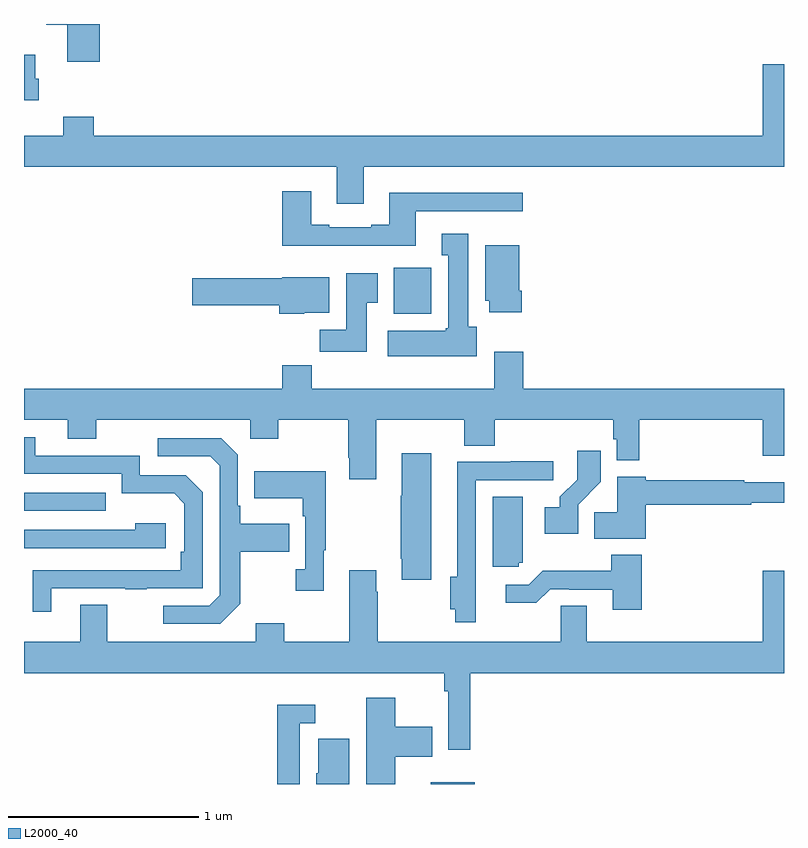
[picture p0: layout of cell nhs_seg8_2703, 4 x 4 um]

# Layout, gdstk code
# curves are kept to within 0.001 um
import gdstk
lib = gdstk.Library(unit=1e-6, precision=1e-09)
def R(c, l, rs):  # rectangles x0, y0, x1, y1
    for r in rs: c.add(gdstk.rectangle(r[:2], r[2:], *l))
def P(c, l, *ps):  # polygons
    for p in ps: c.add(gdstk.Polygon(p, *l))
L2000_40 = (2000, 40)

nhs_seg8_2703 = lib.new_cell('nhs_seg8_2703')
R(nhs_seg8_2703, L2000_40, [(283.142,1131.9,283.372,1131.91), (281,1133.337,281.429,1133.433), (282.947,1134.374,283.144,1134.616)])
P(nhs_seg8_2703, L2000_40, [(281.399,1135.9),(281.117,1135.9),(281.117,1135.895),(281.228,1135.895),(281.228,1135.701),(281.399,1135.701)],
  [(281.078,1135.613),(281.059,1135.613),(281.059,1135.738),(281,1135.738),(281,1135.5),(281.078,1135.5)],
  [(282.787,1135.148),(285,1135.148),(285,1135.687),(284.888,1135.687),(284.888,1135.312),(281.366,1135.312),(281.366,1135.411),(281.206,1135.411),(281.206,1135.312),(281,1135.312),(281,1135.148),(282.647,1135.148),(282.647,1134.954),(282.787,1134.954)],
  [(283.063,1134.915),(283.624,1134.915),(283.624,1135.012),(282.923,1135.012),(282.923,1134.844),(282.827,1134.844),(282.827,1134.831),(282.607,1134.831),(282.607,1134.844),(282.511,1134.844),(282.511,1135.021),(282.359,1135.021),(282.359,1134.734),(283.063,1134.734)],
  [(283.384,1134.306),(283.339,1134.306),(283.339,1134.796),(283.199,1134.796),(283.199,1134.683),(283.232,1134.683),(283.232,1134.3),(283.219,1134.3),(283.219,1134.286),(282.915,1134.286),(282.915,1134.152),(283.384,1134.152)],
  [(283.619,1134.496),(283.606,1134.496),(283.606,1134.736),(283.427,1134.736),(283.427,1134.444),(283.448,1134.444),(283.448,1134.384),(283.619,1134.384)],
  [(282.805,1134.433),(282.862,1134.433),(282.862,1134.589),(282.695,1134.589),(282.695,1134.292),(282.556,1134.292),(282.556,1134.174),(282.805,1134.174)],
  [(282.474,1134.38),(282.607,1134.38),(282.607,1134.568),(282.36,1134.568),(282.36,1134.563),(281.886,1134.563),(281.886,1134.421),(282.344,1134.421),(282.344,1134.374),(282.474,1134.374)],
  [(282.853,1133.816),(283.318,1133.816),(283.318,1133.68),(283.478,1133.68),(283.478,1133.816),(284.101,1133.816),(284.101,1133.715),(284.121,1133.715),(284.121,1133.603),(284.237,1133.603),(284.237,1133.816),(284.888,1133.816),(284.888,1133.628),(285,1133.628),(285,1133.98),(283.628,1133.98),(283.628,1134.175),(283.475,1134.175),(283.475,1133.98),(282.515,1133.98),(282.515,1134.104),(282.359,1134.104),(282.359,1133.98),(281,1133.98),(281,1133.816),(281.231,1133.816),(281.231,1133.717),(281.379,1133.717),(281.379,1133.816),(282.192,1133.816),(282.192,1133.717),(282.339,1133.717),(282.339,1133.816),(282.706,1133.816),(282.706,1133.617),(282.713,1133.617),(282.713,1133.505),(282.853,1133.505)],
  [(281.143,1132.929),(281.533,1132.929),(281.533,1132.924),(281.645,1132.924),(281.645,1132.929),(281.94,1132.929),(281.94,1133.436),(281.85,1133.526),(281.61,1133.526),(281.61,1133.628),(281.059,1133.628),(281.059,1133.724),(281,1133.724),(281,1133.532),(281.514,1133.532),(281.514,1133.429),(281.791,1133.429),(281.844,1133.376),(281.844,1133.122),(281.824,1133.122),(281.824,1133.025),(281.047,1133.024),(281.047,1132.806),(281.143,1132.806)],
  [(282.139,1132.849),(282.139,1133.122),(282.395,1133.122),(282.395,1133.269),(282.139,1133.269),(282.139,1133.365),(282.126,1133.365),(282.126,1133.634),(282.039,1133.721),(281.703,1133.721),(281.703,1133.625),(281.979,1133.625),(282.03,1133.574),(282.03,1132.893),(281.976,1132.839),(281.733,1132.839),(281.733,1132.743),(282.033,1132.743)],
  [(283.917,1133.371),(284.036,1133.49),(284.036,1133.653),(283.911,1133.653),(283.911,1133.501),(283.82,1133.411),(283.82,1133.356),(283.74,1133.356),(283.74,1133.216),(283.917,1133.216)],
  [(283.144,1133.641),(282.989,1133.641),(282.989,1133.417),(282.982,1133.417),(282.982,1133.086),(282.989,1133.086),(282.989,1132.974),(283.144,1132.974)],
  [(283.378,1132.974),(283.377,1132.974),(283.377,1133.499),(283.786,1133.499),(283.786,1133.598),(283.561,1133.598),(283.561,1133.595),(283.28,1133.595),(283.28,1132.991),(283.244,1132.991),(283.244,1132.82),(283.269,1132.82),(283.269,1132.752),(283.378,1132.752)],
  [(282.577,1133.129),(282.589,1133.129),(282.589,1133.545),(282.211,1133.545),(282.211,1133.405),(282.468,1133.405),(282.468,1133.309),(282.48,1133.309),(282.48,1133.03),(282.429,1133.03),(282.429,1132.917),(282.577,1132.917)],
  [(284.273,1133.371),(284.828,1133.371),(284.828,1133.379),(285,1133.379),(285,1133.488),(284.792,1133.488),(284.792,1133.5),(284.273,1133.5),(284.273,1133.518),(284.123,1133.518),(284.123,1133.33),(284.002,1133.33),(284.002,1133.192),(284.273,1133.192)],
  [(283.605,1133.064),(283.624,1133.064),(283.624,1133.413),(283.466,1133.413),(283.466,1133.043),(283.605,1133.043)],
  [(281.746,1133.272),(281.585,1133.272),(281.585,1133.238),(281,1133.238),(281,1133.142),(281.746,1133.142)],
  [(284.252,1133.107),(284.092,1133.107),(284.092,1133.023),(283.729,1133.023),(283.656,1132.95),(283.536,1132.95),(283.536,1132.853),(283.697,1132.853),(283.77,1132.926),(283.87,1132.926),(283.87,1132.923),(284.099,1132.923),(284.099,1132.818),(284.252,1132.818)],
  [(285,1133.023),(284.888,1133.023),(284.888,1132.648),(283.963,1132.648),(283.963,1132.838),(283.824,1132.838),(283.824,1132.648),(282.861,1132.648),(282.861,1132.913),(282.853,1132.913),(282.853,1133.026),(282.713,1133.026),(282.713,1132.648),(282.369,1132.648),(282.369,1132.747),(282.221,1132.747),(282.221,1132.648),(281.437,1132.648),(281.437,1132.843),(281.297,1132.843),(281.297,1132.648),(281,1132.648),(281,1132.484),(283.213,1132.484),(283.213,1132.388),(283.233,1132.388),(283.233,1132.08),(283.349,1132.08),(283.349,1132.484),(285,1132.484)],
  [(282.955,1132.043),(283.148,1132.043),(283.148,1132.201),(282.955,1132.201),(282.955,1132.354),(282.8,1132.354),(282.8,1131.9),(282.955,1131.9)],
  [(282.45,1132.221),(282.532,1132.221),(282.532,1132.318),(282.334,1132.318),(282.334,1131.9),(282.45,1131.9)],
  [(282.712,1132.138),(282.548,1132.138),(282.548,1131.957),(282.539,1131.957),(282.539,1131.9),(282.712,1131.9)])

lib.write_gds('nhs_seg8_2703.gds')
